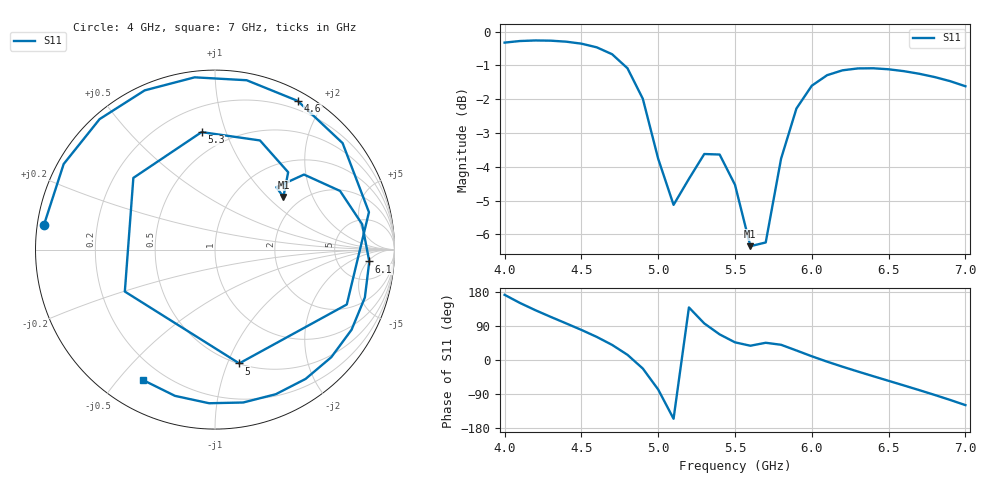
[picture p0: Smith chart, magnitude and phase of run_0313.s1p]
! Touchstone file exported from HFSS 2024.2.0
!  File:  C:/Users/wsak9/Desktop/Sim Fast/Widenad Patch/WP_AI_V1_sweep.aedt
!  Generated:  04:15:07 AM Oct 14, 2026
!  Design:  A1_model
!  Project:  WP_AI_V1_sweep
!  Setup:  Setup1
!  Solution:  Sweep
! Variables:
!  Air_gap = 1.71mm
!  Curve_Amp1 = 3.92
!  Curve_len1 = 1
!  Curve_pos = 9.955mm
!  Extra = 3.28mm
!  H_sub = 0.79mm
!  L_Patch = 15.91mm
!  L_Patch1 = 12.88mm
!  Sx = 1.53mm
!  Sy = 2.32mm
!  WS = 0.78mm
!  W_Patch = 11.99mm
!  W_Patch1 = 9.6mm
!Data is not renormalized
# GHz S MA
! Terminal data exported
! Port[1] = 1
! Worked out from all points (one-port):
!   31 points, 4 GHz to 7 GHz, reference per port
!   lowest |S11| = -6.4 dB at 5.6 GHz (marker M1), VSWR 2.86
!   |S11| at or under -10 dB: nowhere
!   S11 on the Smith chart (normalised r, x): 4 GHz: 0.02, +0.07; 4.6 GHz: 0.10, +1.70; 5 GHz: 0.50, -1.10; 5.3 GHz: 0.36, +0.83; 6.1 GHz: 11, -6; 7 GHz: 0.12, -0.58
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4  0.9634 172.0
4.1  0.9686 150.5
4.2  0.9705 131.5
4.3  0.9698 113.8
4.4  0.9665 96.7
4.5  0.96 79.4
4.6  0.948 60.9
4.7  0.9259 39.8
4.8  0.8827 13.7
4.9  0.7954 -22.6
5  0.6482 -78.0
5.1  0.5541 -155.0
5.2  0.6054 138.7
5.3  0.659 96.5
5.4  0.6578 67.6
5.5  0.5933 46.6
5.6  0.4813 37.6
5.7  0.4874 45.5
5.8  0.6486 40.1
5.9  0.7696 25.1
6  0.8318 9.8
6.1  0.8622 -4.4
6.2  0.8766 -17.7
6.3  0.8822 -30.4
6.5  0.8797 -55.0
6.7  0.8663 -79.6
6.9  0.8449 -105.3
7  0.8302 -119.0
